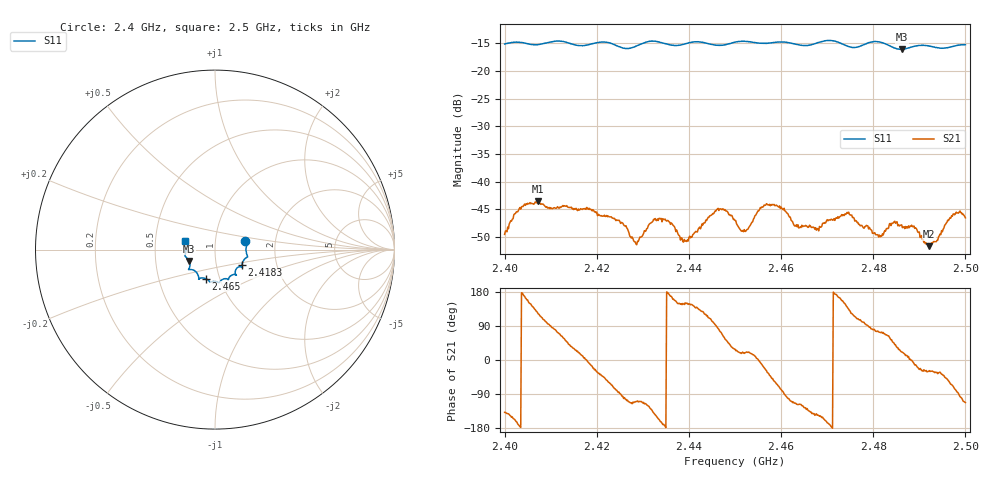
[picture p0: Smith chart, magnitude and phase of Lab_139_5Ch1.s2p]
# Hz S RI R 50
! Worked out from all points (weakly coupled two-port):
!   601 points, 2.4 GHz to 2.5 GHz, reference 50 ohm
!   highest |S21| = -43.55 dB at 2.4072 GHz (marker M1); lowest = -51.6 dB at 2.4922 GHz (marker M2)
!   lowest |S11| = -16.1 dB at 2.4862 GHz (marker M3), VSWR 1.37, Z = 37.2 - j4.85 ohm
!   |S11| at or under -10 dB: start of sweep to end of sweep
!   S12 and S22 are empty: the file has one direction only
!   S11 on the Smith chart (normalised r, x): 2.4 GHz: 1.40, +0.14; 2.4183 GHz: 1.33, -0.24; 2.465 GHz: 0.86, -0.29; 2.5 GHz: 0.71, +0.07
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2.4e9  0.169 0.047  -0.00249 -0.00224  0 0  0 0
2.403667e9  0.1787 0.0293  -0.00593 0.000255  0 0  0 0
2.407167e9  0.173 -0.00533  -0.00374 0.00549  0 0  0 0
2.416667e9  0.1548 -0.0684  0.00553 0.00124  0 0  0 0
2.418333e9  0.1501 -0.0871  0.00571 -0.00082  0 0  0 0
2.425167e9  0.1325 -0.096  2.75e-05 -0.0042  0 0  0 0
2.4285e9  0.1128 -0.1237  -0.000927 -0.00258  0 0  0 0
2.433333e9  0.1175 -0.141  -0.00405 -0.0019  0 0  0 0
2.439167e9  0.0776 -0.1578  -0.00254 0.00143  0 0  0 0
2.446333e9  0.0507 -0.1629  0.000693 0.00571  0 0  0 0
2.45e9  0.0263 -0.1805  0.00393 0.00214  0 0  0 0
2.452333e9  0.0207 -0.1841  0.00336 0.0012  0 0  0 0
2.458e9  -0.0173 -0.1789  0.00405 -0.00465  0 0  0 0
2.465e9  -0.0523 -0.1617  -0.00233 -0.00322  0 0  0 0
2.466667e9  -0.0712 -0.1577  -0.00301 -0.00241  0 0  0 0
2.474333e9  -0.0964 -0.1377  -0.00405 0.0034  0 0  0 0
2.481e9  -0.1473 -0.11  0.000778 0.00323  0 0  0 0
2.483333e9  -0.141 -0.0964  0.00168 0.00343  0 0  0 0
2.486167e9  -0.1435 -0.0636  0.00381 0.00146  0 0  0 0
2.492167e9  -0.1659 -0.0275  0.00231 -0.00123  0 0  0 0
2.4975e9  -0.1649 0.0316  0.00153 -0.00489  0 0  0 0
2.5e9  -0.1664 0.0466  -0.00179 -0.00437  0 0  0 0
